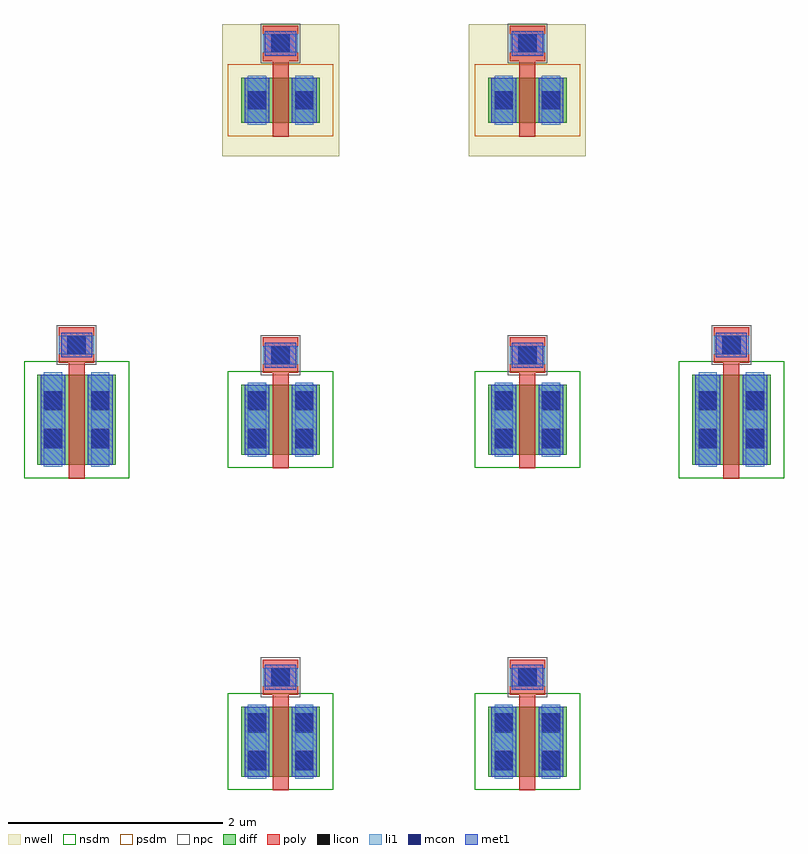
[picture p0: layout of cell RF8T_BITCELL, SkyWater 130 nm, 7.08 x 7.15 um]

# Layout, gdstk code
import gdstk
lib = gdstk.Library(unit=1e-6, precision=1e-09)
def R(c, l, rs):  # rectangles x0, y0, x1, y1
    for r in rs: c.add(gdstk.rectangle(r[:2], r[2:], *l))
nwell = (64, 20)
diff = (65, 20)
poly = (66, 20)
licon = (66, 44)
li1 = (67, 20)
mcon = (67, 44)
met1 = (68, 20)
nsdm = (93, 44)
psdm = (94, 20)
npc = (95, 20)

pfet_w042_l015 = lib.new_cell('PFET_W042_L015')
R(pfet_w042_l015, nwell, [(-0.545,-0.7,0.545,0.53)])
R(pfet_w042_l015, diff, [(-0.365,-0.39,0.365,0.03)])
R(pfet_w042_l015, poly, [(-0.075,-0.52,0.075,0.185), (-0.165,0.185,0.165,0.515)])
R(pfet_w042_l015, licon, [(-0.305,-0.265,-0.135,-0.095), (0.135,-0.265,0.305,-0.095), (-0.085,0.265,0.085,0.435)])
R(pfet_w042_l015, li1, [(-0.305,-0.41,-0.135,0.05), (0.135,-0.41,0.305,0.05), (-0.165,0.265,0.165,0.435)])
R(pfet_w042_l015, mcon, [(-0.305,-0.265,-0.135,-0.095), (0.135,-0.265,0.305,-0.095), (-0.085,0.265,0.085,0.435)])
R(pfet_w042_l015, met1, [(-0.335,-0.39,-0.105,0.03), (0.105,-0.39,0.335,0.03), (-0.145,0.235,0.145,0.465)])
R(pfet_w042_l015, psdm, [(-0.49,-0.515,0.49,0.155)])
R(pfet_w042_l015, npc, [(-0.185,0.165,0.185,0.535)])
pfet_w042_l015.add(gdstk.Label('D', (-0.22,-0.18), layer=67, texttype=5))
pfet_w042_l015.add(gdstk.Label('S', (0.22,-0.18), layer=67, texttype=5))
pfet_w042_l015.add(gdstk.Label('G', (0,0.35), layer=67, texttype=5))

nfet_w065_l015 = lib.new_cell('NFET_W065_L015')
R(nfet_w065_l015, diff, [(-0.365,-0.48,0.365,0.17)])
R(nfet_w065_l015, poly, [(-0.075,-0.61,0.075,0.28), (-0.165,0.28,0.165,0.61)])
R(nfet_w065_l015, licon, [(-0.305,-0.41,-0.135,-0.24), (0.135,-0.41,0.305,-0.24), (-0.305,-0.07,-0.135,0.1), (0.135,-0.07,0.305,0.1), (-0.085,0.36,0.085,0.53)])
R(nfet_w065_l015, li1, [(-0.305,-0.5,-0.135,0.19), (0.135,-0.5,0.305,0.19), (-0.165,0.36,0.165,0.53)])
R(nfet_w065_l015, mcon, [(-0.305,-0.42,-0.135,-0.25), (0.135,-0.42,0.305,-0.25), (-0.305,-0.06,-0.135,0.11), (0.135,-0.06,0.305,0.11), (-0.085,0.36,0.085,0.53)])
R(nfet_w065_l015, met1, [(-0.335,-0.48,-0.105,0.17), (0.105,-0.48,0.335,0.17), (-0.145,0.33,0.145,0.56)])
R(nfet_w065_l015, nsdm, [(-0.49,-0.605,0.49,0.295)])
R(nfet_w065_l015, npc, [(-0.185,0.26,0.185,0.63)])
nfet_w065_l015.add(gdstk.Label('D', (-0.22,-0.155), layer=67, texttype=5))
nfet_w065_l015.add(gdstk.Label('S', (0.22,-0.155), layer=67, texttype=5))
nfet_w065_l015.add(gdstk.Label('G', (0,0.445), layer=67, texttype=5))

nfet_w084_l015 = lib.new_cell('NFET_W084_L015')
R(nfet_w084_l015, diff, [(-0.365,-0.575,0.365,0.265)])
R(nfet_w084_l015, poly, [(-0.075,-0.705,0.075,0.375), (-0.165,0.375,0.165,0.705)])
R(nfet_w084_l015, licon, [(-0.305,-0.41,-0.135,-0.24), (0.135,-0.41,0.305,-0.24), (-0.305,-0.07,-0.135,0.1), (0.135,-0.07,0.305,0.1), (-0.085,0.455,0.085,0.625)])
R(nfet_w084_l015, li1, [(-0.305,-0.595,-0.135,0.285), (0.135,-0.595,0.305,0.285), (-0.165,0.455,0.165,0.625)])
R(nfet_w084_l015, mcon, [(-0.305,-0.42,-0.135,-0.25), (0.135,-0.42,0.305,-0.25), (-0.305,-0.06,-0.135,0.11), (0.135,-0.06,0.305,0.11), (-0.085,0.455,0.085,0.625)])
R(nfet_w084_l015, met1, [(-0.335,-0.575,-0.105,0.265), (0.105,-0.575,0.335,0.265), (-0.145,0.425,0.145,0.655)])
R(nfet_w084_l015, nsdm, [(-0.49,-0.7,0.49,0.39)])
R(nfet_w084_l015, npc, [(-0.185,0.355,0.185,0.725)])
nfet_w084_l015.add(gdstk.Label('D', (-0.22,-0.155), layer=67, texttype=5))
nfet_w084_l015.add(gdstk.Label('S', (0.22,-0.155), layer=67, texttype=5))
nfet_w084_l015.add(gdstk.Label('G', (0,0.54), layer=67, texttype=5))

rf8t_bitcell = lib.new_cell('RF8T_BITCELL')
rf8t_bitcell.add(gdstk.Reference(pfet_w042_l015, (0,3)))
rf8t_bitcell.add(gdstk.Reference(pfet_w042_l015, (2.3,3)))
rf8t_bitcell.add(gdstk.Reference(nfet_w065_l015, (0,0)))
rf8t_bitcell.add(gdstk.Reference(nfet_w065_l015, (2.3,0)))
rf8t_bitcell.add(gdstk.Reference(nfet_w084_l015, (-1.9,0)))
rf8t_bitcell.add(gdstk.Reference(nfet_w084_l015, (4.2,0)))
rf8t_bitcell.add(gdstk.Reference(nfet_w065_l015, (0,-3)))
rf8t_bitcell.add(gdstk.Reference(nfet_w065_l015, (2.3,-3)))

lib.write_gds('RF8T_BITCELL.gds')
